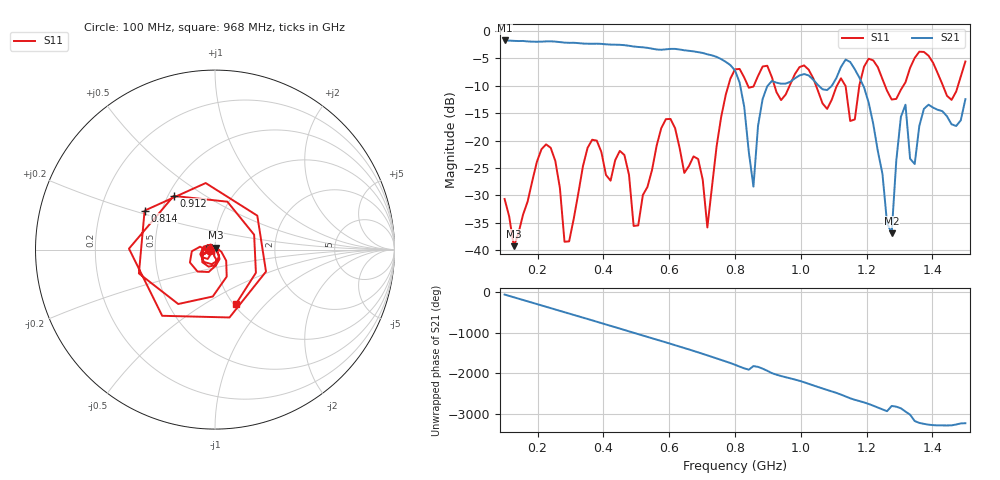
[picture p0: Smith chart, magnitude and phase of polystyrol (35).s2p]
! NanoVNA-App
! Date: 2025-09-26 09:42:09
! Start: 100MHz Stop: 1,5GHz Points: 101
! S-Parameter data: F S11 S21 S12 S22
# Hz S RI R 50
!  Frequency  S11_Real  S11_Imag  S21_Real  S21_Imag  S12_Real  S12_Imag  S22_Real  S22_Imag
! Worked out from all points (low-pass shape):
!   101 points, 100 MHz to 1.5 GHz, reference 50 ohm
!   highest |S21| = -1.79 dB at 100 MHz (marker M1); lowest = -36.9 dB at 1.276 GHz (marker M2)
!   |S21| within 3 dB of the highest: start of sweep to 744.4 MHz
!   lowest |S11| = -39.2 dB at 128 MHz (marker M3), VSWR 1.02, Z = 50.3 + j1.06 ohm
!   |S11| at or under -10 dB: start of sweep to 779.9 MHz; 1.046 GHz to 1.11 GHz (63.94 MHz wide, 5.93 % of centre); 1.256 GHz to 1.312 GHz (56.08 MHz wide, 4.37 % of centre) (the widest 3 of 7)
!   S12 and S22 are empty: the file has one direction only
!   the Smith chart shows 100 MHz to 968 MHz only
!   S11 on the Smith chart (normalised r, x): 100 MHz: 0.94, -0.01; 814 MHz: 0.40, +0.22; 912 MHz: 0.54, +0.37; 968 MHz: 1.02, -0.70
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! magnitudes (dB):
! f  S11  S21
! 100 MHz  -30.7  -1.8
! 128 MHz  -39.2  -1.9
! 212 MHz  -21.6  -2.0
! 254 MHz  -23.7  -2.0
! 282 MHz  -38.4  -2.2
! 338 MHz  -24.7  -2.4
! 464 MHz  -22.6  -2.6
! 506 MHz  -35.5  -3.0
! 576 MHz  -17.8  -3.5
! 688 MHz  -23.4  -3.9
! 716 MHz  -35.8  -4.3
! 800 MHz  -7.0  -7.2
! 814 MHz  -7.0  -9.4
! 856 MHz  -10.2  -28.4
! 912 MHz  -8.5  -9.2
! 968 MHz  -9.8  -9.3
! 1.038 GHz  -8.7  -9.0
! 1.178 GHz  -9.9  -8.6
! 1.276 GHz  -12.5  -36.9
! 1.318 GHz  -9.4  -13.5
! 1.346 GHz  -5.0  -24.3
! 1.5 GHz  -5.6  -12.5
